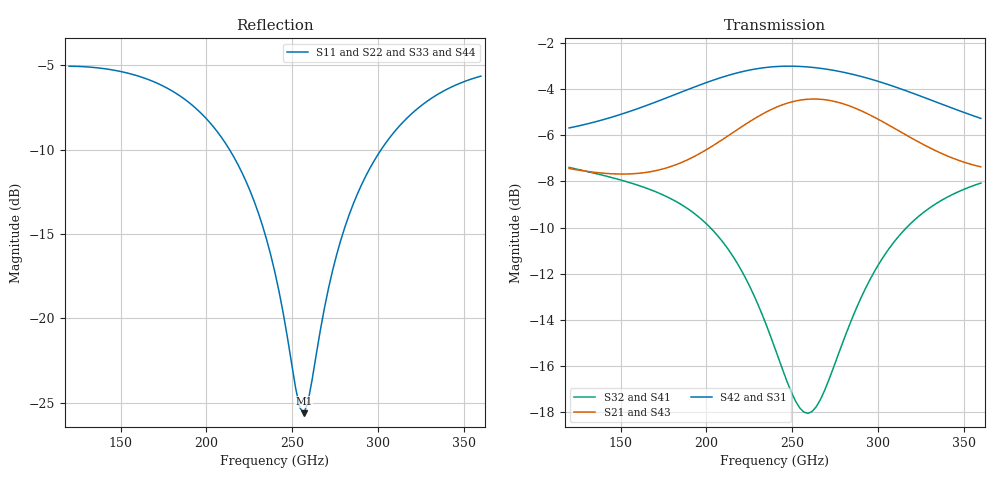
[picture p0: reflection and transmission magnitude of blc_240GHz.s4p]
#  GHZ S DB R 50
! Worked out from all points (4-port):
!   101 points, 120 GHz to 360 GHz, reference 50 ohm
!   strongest paths, dB at 120 GHz, 180 GHz, 240 GHz, 300 GHz, 360 GHz:
!     S42: -5.7, -4.3, -3.0, -3.7, -5.3
!     S31: -5.7, -4.3, -3.0, -3.7, -5.3
!     S21: -7.4, -7.3, -4.8, -5.3, -7.4
!     S43: -7.4, -7.3, -4.8, -5.3, -7.4
!     S32: -7.4, -8.8, -15.2, -11.6, -8.1
!     S41: -7.4, -8.8, -15.2, -11.6, -8.1
!   lowest |S11| = -25.6 dB at 256.8 GHz (marker M1), VSWR 1.11, Z = 55.3 - j1.63 ohm
!   |S11| at or under -10 dB: 213.5 GHz to 301.8 GHz (88.28 GHz wide, 34.3 % of centre)
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120  -5.04 157.0  -7.44 -50.1  -5.68 -78.9  -7.39 -61.6
     -7.44 -50.1  -5.04 157.1  -7.39 -61.6  -5.68 -78.9
     -5.68 -78.9  -7.39 -61.6  -5.05 157.1  -7.44 -50.2
     -7.39 -61.6  -5.68 -78.9  -7.44 -50.2  -5.04 157.0
172.8  -6.12 131.3  -7.49 -62.3  -4.49 -115.4  -8.52 -89.2
       -7.49 -62.3  -6.12 131.4  -8.52 -89.1  -4.49 -115.3
       -4.49 -115.4  -8.52 -89.1  -6.13 131.4  -7.49 -62.3
       -8.52 -89.2  -4.49 -115.3  -7.49 -62.3  -6.12 131.3
211.2  -9.62 102.8  -6.09 -72.9  -3.43 -147.2  -10.79 -112.5
       -6.09 -72.9  -9.62 102.9  -10.79 -112.4  -3.44 -147.2
       -3.43 -147.2  -10.79 -112.4  -9.64 102.9  -6.10 -73.0
       -10.79 -112.5  -3.44 -147.2  -6.10 -73.0  -9.62 102.9
235.2  -15.36 75.7  -4.98 -85.9  -3.05 -169.7  -14.28 -121.2
       -4.98 -85.9  -15.33 75.7  -14.28 -121.3  -3.05 -169.7
       -3.05 -169.7  -14.28 -121.3  -15.39 75.7  -4.98 -85.9
       -14.28 -121.2  -3.05 -169.7  -4.98 -85.9  -15.34 75.8
256.8  -25.63 -16.3  -4.45 -101.2  -3.03 169.6  -17.98 -101.2
       -4.45 -101.2  -25.53 -15.6  -18.00 -101.3  -3.02 169.6
       -3.03 169.6  -18.00 -101.3  -25.59 -17.0  -4.46 -101.3
       -17.98 -101.2  -3.02 169.6  -4.46 -101.3  -25.62 -15.7
295.2  -11.12 -119.3  -5.11 -128.3  -3.56 134.1  -12.26 -76.0
       -5.11 -128.3  -11.13 -119.0  -12.28 -75.9  -3.55 134.1
       -3.56 134.1  -12.28 -75.9  -11.09 -119.2  -5.12 -128.3
       -12.26 -76.0  -3.55 134.1  -5.12 -128.3  -11.13 -119.3
360  -5.63 -162.3  -7.37 -152.9  -5.27 82.5  -8.06 -113.5
     -7.37 -152.9  -5.64 -162.1  -8.07 -113.4  -5.27 82.5
     -5.27 82.5  -8.07 -113.4  -5.63 -162.2  -7.38 -153.0
     -8.06 -113.5  -5.27 82.5  -7.38 -153.0  -5.64 -162.3
